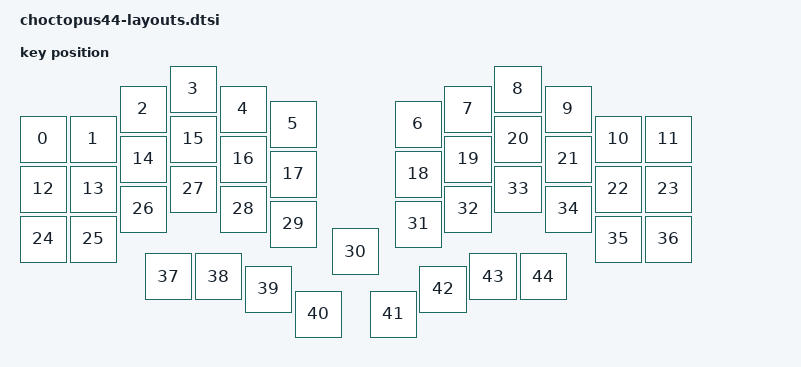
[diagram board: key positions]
#include <physical_layouts.dtsi>

/ {
    physical_layout0: physical_layout_0 {
        compatible = "zmk,physical-layout";
        display-name = "Default";
        kscan = <&kscan0>;
        transform = <&default_transform>;
        keys  //                     w   h    x    y     rot    rx    ry
            = <&key_physical_attrs 100 100    0  100       0     0     0>
            , <&key_physical_attrs 100 100  100  100       0     0     0>
            , <&key_physical_attrs 100 100  200   40       0     0     0>
            , <&key_physical_attrs 100 100  300    0       0     0     0>
            , <&key_physical_attrs 100 100  400   40       0     0     0>
            , <&key_physical_attrs 100 100  500   70       0     0     0>
            , <&key_physical_attrs 100 100  750   70       0     0     0>
            , <&key_physical_attrs 100 100  850   40       0     0     0>
            , <&key_physical_attrs 100 100  950    0       0     0     0>
            , <&key_physical_attrs 100 100 1050   40       0     0     0>
            , <&key_physical_attrs 100 100 1150  100       0     0     0>
            , <&key_physical_attrs 100 100 1250  100       0     0     0>
            , <&key_physical_attrs 100 100    0  200       0     0     0>
            , <&key_physical_attrs 100 100  100  200       0     0     0>
            , <&key_physical_attrs 100 100  200  140       0     0     0>
            , <&key_physical_attrs 100 100  300  100       0     0     0>
            , <&key_physical_attrs 100 100  400  140       0     0     0>
            , <&key_physical_attrs 100 100  500  170       0     0     0>
            , <&key_physical_attrs 100 100  750  170       0     0     0>
            , <&key_physical_attrs 100 100  850  140       0     0     0>
            , <&key_physical_attrs 100 100  950  100       0     0     0>
            , <&key_physical_attrs 100 100 1050  140       0     0     0>
            , <&key_physical_attrs 100 100 1150  200       0     0     0>
            , <&key_physical_attrs 100 100 1250  200       0     0     0>
            , <&key_physical_attrs 100 100    0  300       0     0     0>
            , <&key_physical_attrs 100 100  100  300       0     0     0>
            , <&key_physical_attrs 100 100  200  240       0     0     0>
            , <&key_physical_attrs 100 100  300  200       0     0     0>
            , <&key_physical_attrs 100 100  400  240       0     0     0>
            , <&key_physical_attrs 100 100  500  270       0     0     0>
            , <&key_physical_attrs 100 100  625  325       0     0     0>
            , <&key_physical_attrs 100 100  750  270       0     0     0>
            , <&key_physical_attrs 100 100  850  240       0     0     0>
            , <&key_physical_attrs 100 100  950  200       0     0     0>
            , <&key_physical_attrs 100 100 1050  240       0     0     0>
            , <&key_physical_attrs 100 100 1150  300       0     0     0>
            , <&key_physical_attrs 100 100 1250  300       0     0     0>
            , <&key_physical_attrs 100 100  250  375       0     0     0>
            , <&key_physical_attrs 100 100  350  375       0     0     0>
            , <&key_physical_attrs 100 100  450  400       0     0     0>
            , <&key_physical_attrs 100 100  550  450       0     0     0>
            , <&key_physical_attrs 100 100  700  450       0     0     0>
            , <&key_physical_attrs 100 100  800  400       0     0     0>
            , <&key_physical_attrs 100 100  900  375       0     0     0>
            , <&key_physical_attrs 100 100 1000  375       0     0     0>
            ;
    };
};
